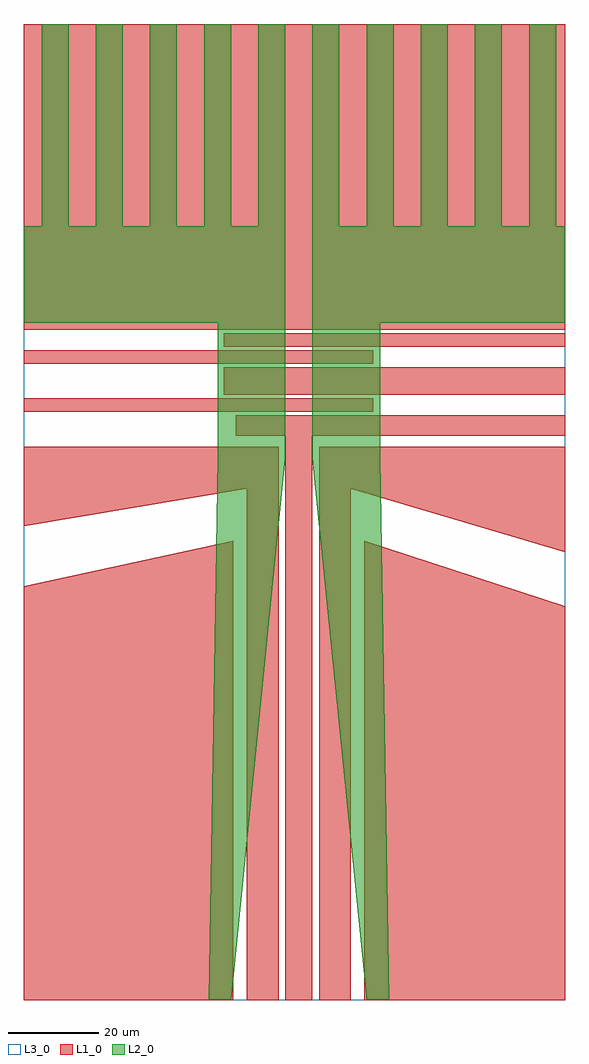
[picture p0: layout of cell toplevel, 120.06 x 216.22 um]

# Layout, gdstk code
import gdstk
lib = gdstk.Library(unit=1e-6, precision=1e-09)
def R(c, l, rs):  # rectangles x0, y0, x1, y1
    for r in rs: c.add(gdstk.rectangle(r[:2], r[2:], *l))
def P(c, l, *ps):  # polygons
    for p in ps: c.add(gdstk.Polygon(p, *l))
L1_0 = (1, 0)
L2_0 = (2, 0)
L3_0 = (3, 0)

toplevel = lib.new_cell('toplevel')
R(toplevel, L1_0, [(-65.365,6.858,12.086,9.858), (-21.078,10.658,54.618,16.658), (-65.365,17.458,12.086,20.458), (-21.078,21.258,54.618,24.258), (-65.365,25.058,54.618,92.748)])
P(toplevel, L1_0, [(0.108,-123.47),(0.108,-0.942),(54.618,-0.942),(54.618,-24.237),(7.108,-10.215),(7.108,-123.47)],
  [(10.108,-123.47),(10.108,-21.734),(54.618,-36.293),(54.618,-123.47)],
  [(-65.365,-123.47),(-65.365,-31.792),(-18.892,-21.734),(-18.892,-123.47)],
  [(-7.392,-123.47),(-7.392,1.558),(-18.392,1.558),(-18.392,6.058),(54.618,6.058),(54.618,1.558),(-1.392,1.558),(-1.392,-123.47)],
  [(-15.892,-123.47),(-15.892,-10.215),(-65.365,-18.541),(-65.365,-0.942),(-8.892,-0.942),(-8.892,-123.47)])
P(toplevel, L2_0, [(-24.392,-123.442),(-22.392,-3.442),(-22.392,26.51),(-65.378,26.51),(-65.378,47.952),(-61.392,47.952),(-61.392,92.739),(-55.392,92.739),(-55.392,47.952),(-49.392,47.952),(-49.392,92.739),(-43.392,92.739),(-43.392,47.952),(-37.392,47.952),(-37.392,92.739),(-31.392,92.739),(-31.392,47.952),(-25.392,47.952),(-25.392,92.739),(-19.392,92.739),(-19.392,47.952),(-13.392,47.952),(-13.392,92.739),(-7.392,92.739),(-7.392,-3.442),(-19.392,-123.442)],
  [(10.608,-123.442),(-1.392,-3.442),(-1.392,92.739),(4.608,92.739),(4.608,47.952),(10.608,47.952),(10.608,92.739),(16.608,92.739),(16.608,47.952),(22.608,47.952),(22.608,92.739),(28.608,92.739),(28.608,47.952),(34.608,47.952),(34.608,92.739),(40.608,92.739),(40.608,47.952),(46.608,47.952),(46.608,92.739),(52.608,92.739),(52.608,47.952),(54.677,47.952),(54.677,26.51),(13.608,26.51),(13.608,-3.442),(15.608,-123.442)])
R(toplevel, L3_0, [(-65.365,-123.47,54.618,92.748)])

lib.write_gds('toplevel.gds')
